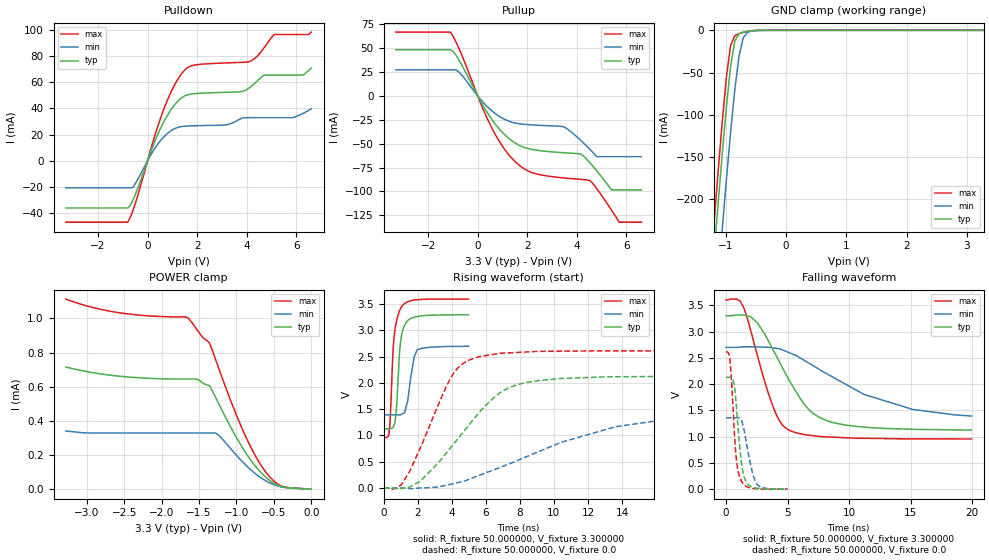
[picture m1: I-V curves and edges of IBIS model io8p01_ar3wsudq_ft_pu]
| [Disclaimer]  This information is for modeling purpose only and is
| not guaranted. The information is subject to change without
| notice.
| [Copyright] Copyright 2015 STMicroelectronics Inc.
| From stm32f446_lqfp64.ibs, stm32f446_lqfp64, STMicroelectronics
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|   Model io8p01_ar3wsudq_ft_pu
[Model]  io8p01_ar3wsudq_ft_pu
Model_type I/O
Polarity   Non-Inverting
Enable   Active-Low
Vinl =   0.990000V
Vinh =   2.310000V
Vmeas =  1.650000V
Cref =   50.000000pF
Rref =   100.000000M
Vref =   0.0V
C_comp   3.843200pF   3.762100pF   3.937000pF
[Temperature Range]   25.000000   0.125000k   -40.000000
[Pullup Reference]   3.300000V   2.700000V   3.600000V
[Pulldown Reference]   0.0V   0.0V   0.0V
[POWER Clamp Reference]   3.300000V   2.700000V   3.600000V
[GND Clamp Reference]   0.0V   0.0V   0.0V
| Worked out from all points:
|   slope of the pulldown table from 0 to 0.495 V, typ, clamps not added: 20.9 ohm
|   slope of the pullup table from 0 to 0.495 V, typ, clamps not added: 22.6 ohm
|   GND clamp passes 1 mA (typ) near -0.62 V on its own axis
|   rising waveform, R_fixture 50.000000, V_fixture 3.300000: 20-80 % time 269ps typ, 352ps min, 281ps max; typ from 1.12 V to 3.3 V
|   rising waveform, R_fixture 50.000000, V_fixture 0.0: 20-80 % time 3.36ns typ, 6.9ns min, 2.12ns max; typ from 0.001 V to 2.13 V
|   falling waveform, R_fixture 50.000000, V_fixture 3.300000: 20-80 % time 3.22ns typ, 6.83ns min, 2.02ns max; typ from 3.3 V to 1.12 V
|   falling waveform, R_fixture 50.000000, V_fixture 0.0: 20-80 % time 505ps typ, 697ps min, 426ps max; typ from 2.13 V to 0.001 V
[Pulldown]
|Voltage   I(typ)   I(min)   I(max)
-3.3V     -36.18mA   -20.77mA   -47.07mA
-800mV    -36.18mA   -20.77mA   -47.07mA
-600mV    -30.5mA    -20.52mA   -38.69mA
700mV     31.4mA     19.11mA    41.71mA
1.2V      45.15mA    25.37mA    61.75mA
1.6V      50.35mA    26.5mA     71.06mA
3.1V      52.28mA    27.26mA    74.76mA
4.1V      55.65mA    32.89mA    75.79mA
4.7V      65.5mA     32.89mA    86.49mA
5.1V      65.5mA     32.89mA    96.55mA
6.3V      65.83mA    36.49mA    96.55mA
6.6V      70.88mA    39.7mA     98.4mA
[Pullup]
|Voltage   I(typ)   I(min)   I(max)
-3.3V     48.39mA    27.39mA    66.88mA
-1.1V     48.39mA    27.39mA    66.67mA
-700mV    35.09mA    23.45mA    46.27mA
500mV     -22.06mA   -14mA      -30.03mA
1.5V      -49.1mA    -28.3mA    -68.56mA
2.2V      -56.04mA   -30.32mA   -80.35mA
3.5V      -59.52mA   -32.72mA   -85.91mA
4.5V      -69.2mA    -55.26mA   -88.43mA
4.8V      -78.37mA   -63.6mA    -97mA
5.4V      -98.4mA    -63.6mA    -119.7mA
5.7V      -98.4mA    -63.6mA    -132.2mA
6.6V      -98.4mA    -63.6mA    -132.2mA
[GND_clamp]
|Voltage   I(typ)   I(min)   I(max)
-3.3V     -2.327A    -2.405A    -2.301A
-1.2V     -270.2mA   -361.4mA   -232.1mA
-1.13V    -207.3mA   -298.1mA   -169mA
-1.06V    -146.7mA   -236.2mA   -108.8mA
-990mV    -90.18mA   -176.4mA   -54.96mA
-920mV    -42.21mA   -120mA     -17.68mA
-850mV    -12.57mA   -69.47mA   -6.265mA
-780mV    -3.971mA   -30.01mA   -3.886mA
-710mV    -2.1mA     -8.615mA   -2.382mA
-640mV    -1.148mA   -2.283mA   -1.22mA
-570mV    -524uA     -821.5uA   -476.8uA
3.28V     0A         0A         0A
[POWER_clamp]
|Voltage   I(typ)   I(min)   I(max)
-3.28V    715.1uA    340.8uA    1.113mA
-2.6V     662.9uA    328.8uA    1.035mA
-1.64V    645uA      328.8uA    1mA
-1.52V    643.3uA    328.8uA    929.5uA
-1.36V    606.3uA    328.8uA    855.6uA
-1.24V    503.7uA    316.8uA    712.3uA
-960mV    272.5uA    179.4uA    391.9uA
-800mV    165.1uA    110.4uA    239.2uA
-640mV    83.2uA     57.57uA    119.3uA
-520mV    40.52uA    29.83uA    56.09uA
-400mV    15.54uA    13.29uA    18.7uA
0V        0A         0A         0A
[Ramp]
| variable   typ   min   max
dV/dt_r  1.27729/3.35985n   0.79875/6.90687n   1.56676/2.11512n
dV/dt_f  1.30152/3.21523n   0.73992/6.80411n   1.58714/2.02139n
R_load = 50.000000
[Rising Waveform]
R_fixture= 50.000000
V_fixture= 3.300000
V_fixture_min= 2.700000
V_fixture_max= 3.600000
|time   V(typ)   V(min)   V(max)
0s        1.125V     1.393V     955.6mV
360.4ps   1.128V     1.393V     1.187V
550.6ps   1.146V     1.393V     2.62V
660.7ps   1.238V     1.393V     3.006V
930.9ps   2.573V     1.395V     3.374V
1.031ns   2.867V     1.398V     3.443V
1.411ns   3.186V     1.658V     3.55V
1.782ns   3.251V     2.481V     3.582V
1.982ns   3.266V     2.637V     3.587V
4.985ns   3.3V       2.7V       3.599V
[Rising Waveform]
R_fixture= 50.000000
V_fixture= 0.0
V_fixture_min= 0.0
V_fixture_max= 0.0
|time   V(typ)   V(min)   V(max)
0s        1.445mV    1.247mV    1.817mV
1.041ns   -9.572mV   -268uV     61.62mV
2.162ns   130.6mV    -531.2uV   770.8mV
3.844ns   729.2mV    63.66mV    2.037V
4.364ns   938.5mV    102mV      2.288V
5.005ns   1.198V     164mV      2.434V
6.807ns   1.808V     388mV      2.565V
8.368ns   2.007V     592.6mV    2.591V
13.65ns   2.119V     1.168V     2.613V
19.94ns   2.129V     1.36V      2.612V
[Falling Waveform]
R_fixture= 50.000000
V_fixture= 3.300000
V_fixture_min= 2.700000
V_fixture_max= 3.600000
|time   V(typ)   V(min)   V(max)
0s        3.3V       2.7V       3.599V
920.9ps   3.315V     2.7V       3.612V
1.441ns   3.311V     2.71V      3.451V
2.563ns   3.163V     2.707V     2.53V
3.804ns   2.661V     2.689V     1.582V
5.045ns   2.109V     2.606V     1.134V
6.727ns   1.515V     2.4V       1.029V
8.609ns   1.273V     2.142V     991.7mV
15.14ns   1.141V     1.52V      957.7mV
19.94ns   1.125V     1.393V     955.6mV
[Falling Waveform]
R_fixture= 50.000000
V_fixture= 0.0
V_fixture_min= 0.0
V_fixture_max= 0.0
|time   V(typ)   V(min)   V(max)
0s        2.129V     1.36V      2.612V
300.3ps   2.131V     1.359V     2.49V
470.5ps   2.118V     1.359V     1.964V
620.6ps   2.031V     1.359V     1.317V
840.8ps   1.577V     1.361V     560.5mV
1.201ns   598.8mV    1.32V      181.1mV
1.592ns   163mV      968.4mV    60.49mV
2.152ns   38.89mV    305.8mV    15.61mV
2.472ns   20.61mV    113.3mV    10.55mV
4.985ns   1.445mV    1.247mV    1.817mV
